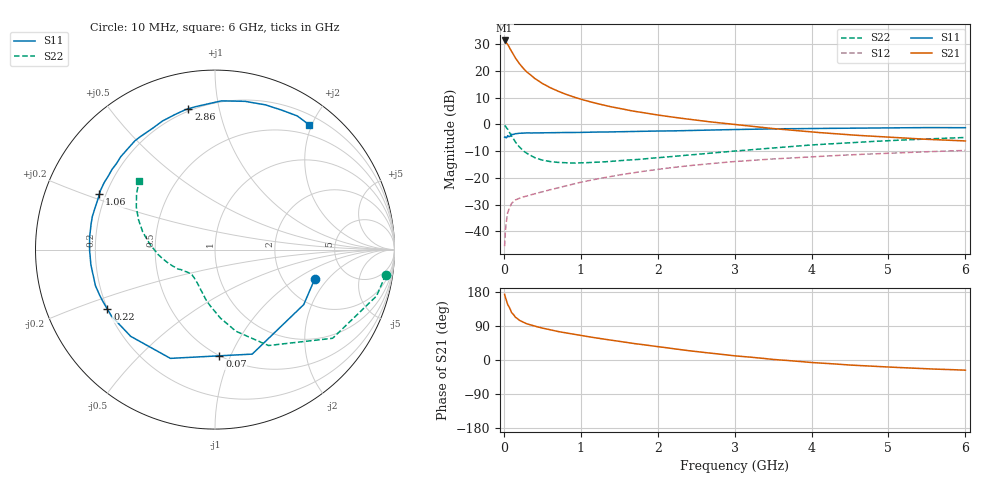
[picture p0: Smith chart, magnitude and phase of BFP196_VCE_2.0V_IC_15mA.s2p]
! Infineon Technologies  Discrete & RF Semiconductors
! BFP196
! VCE = 2.0 V,  IC =  15mA
! Common Emitter S-Parameters:  Jan 2016
# GHz  S  MA  R  50
!  f  S11  S21  S12  S22
! GHz  MAG  ANG  MAG  ANG  MAG  ANG  MAG  ANG
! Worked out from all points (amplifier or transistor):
!   210 points, 10 MHz to 6 GHz, reference 50 ohm
!   highest |S21| = 31.4 dB at 10 MHz (marker M1)
!   |S21| within 3 dB of that: start of sweep to 78.99 MHz
!   unconditionally stable (mu >= 1): 724.9 MHz to 3.437 GHz
!   at 185 MHz: K = 0.40, MSG = 25.6 dB, |S12| = -27.8 dB
!   at 1.52 GHz: K = 1.13, MAG = 10.2 dB, |S12| = -18.8 dB
!   at 6 GHz: K = 0.98, MSG = 1.8 dB, |S12| = -9.7 dB
!   S11 on the Smith chart (normalised r, x): 10 MHz: 2.95, -1.47; 70 MHz: 0.50, -0.91; 220 MHz: 0.20, -0.25; 1.06 GHz: 0.17, +0.22; 2.86 GHz: 0.19, +0.81; 6 GHz: 0.34, +1.96
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0.01  0.5792 -16.6  37.26 173.2  0.0053 81.8  0.9615 -8.4
0.02  0.5816 -31.8  35.88 165.0  0.01 76.4  0.9366 -16.0
0.05  0.6181 -70.4  31.61 146.3  0.0225 62.1  0.8208 -37.0
0.07  0.5923 -87.6  27.89 139.4  0.0266 54.2  0.723 -44.9
0.1  0.655 -112.3  23.37 125.2  0.0334 46.2  0.6116 -60.9
0.15  0.6739 -134.2  17.5 112.9  0.0387 39.7  0.4695 -75.6
0.2  0.6854 -147.3  13.85 105.0  0.0416 37.4  0.3827 -85.5
0.22  0.6851 -151.1  12.81 103.0  0.0426 37.3  0.3584 -88.3
0.26  0.6907 -158.0  10.93 98.7  0.0445 37.2  0.3164 -94.5
0.3  0.6958 -163.2  9.55 95.4  0.046 37.2  0.2883 -99.5
0.4  0.6966 -173.0  7.287 89.3  0.0505 39.6  0.2404 -109.0
0.5  0.6986 -179.6  5.846 84.2  0.055 41.7  0.2154 -115.9
0.7  0.7046 169.0  4.224 75.2  0.065 45.5  0.1956 -126.1
1.02  0.7118 155.5  2.915 64.1  0.0841 48.3  0.1917 -135.2
1.06  0.7148 154.2  2.811 62.8  0.0864 48.5  0.1927 -136.2
1.4  0.7273 142.1  2.131 52.2  0.1069 48.6  0.2043 -143.2
2.02  0.7544 123.1  1.489 34.8  0.1459 44.6  0.2399 -155.5
2.86  0.7983 100.7  1.049 14.3  0.1948 35.9  0.3055 -172.4
3.1  0.8069 95.6  0.962 9.4  0.2073 32.9  0.3268 -177.3
4.1  0.8437 77.0  0.706 -7.8  0.2529 21.6  0.4224 164.6
5.1  0.8634 63.1  0.569 -19.5  0.2936 10.5  0.5056 150.1
6  0.8712 52.9  0.492 -26.8  0.3273 0.2  0.5713 137.8
